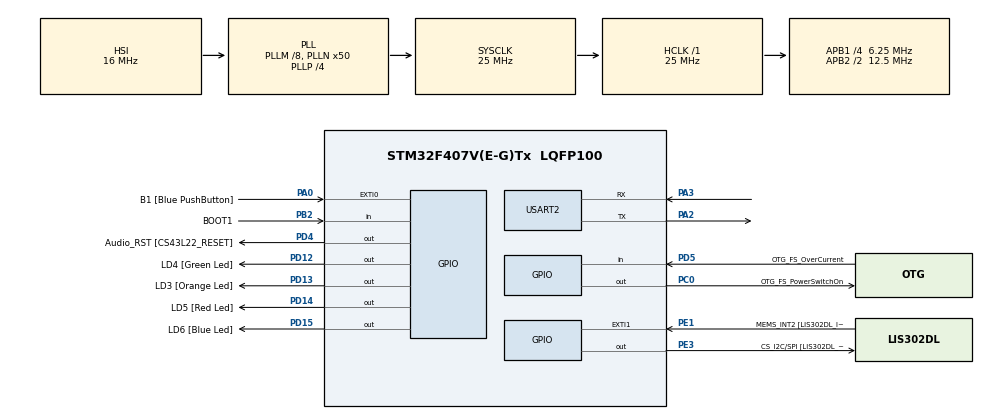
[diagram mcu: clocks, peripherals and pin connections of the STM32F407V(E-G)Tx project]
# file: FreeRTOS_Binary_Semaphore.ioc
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Mcu.Family=STM32F4
Mcu.Name=STM32F407V(E-G)Tx
Mcu.Package=LQFP100
NVIC.PriorityGroup=NVIC_PRIORITYGROUP_4
NVIC.TIM6_DAC_IRQn=true\:15\:0\:true\:false\:true\:false\:true\:true
NVIC.TimeBase=TIM6_DAC_IRQn
NVIC.TimeBaseIP=TIM6
NVIC.USART2_IRQn=true\:6\:0\:true\:false\:true\:true\:true\:true
PA0-WKUP.GPIO_Label=B1 [Blue PushButton]
PA0-WKUP.Signal=GPXTI0
PA10.GPIO_Label=OTG_FS_ID
PA10.GPIO_Mode=GPIO_MODE_AF_PP
PA10.GPIO_PuPd=GPIO_NOPULL
PA10.GPIO_Speed=GPIO_SPEED_FREQ_LOW
PA10.Signal=USB_OTG_FS_ID
PA11.GPIO_Label=OTG_FS_DM
PA11.GPIO_Mode=GPIO_MODE_AF_PP
PA11.GPIO_PuPd=GPIO_NOPULL
PA11.GPIO_Speed=GPIO_SPEED_FREQ_LOW
PA11.Signal=USB_OTG_FS_DM
PA12.GPIO_Label=OTG_FS_DP
PA12.GPIO_Mode=GPIO_MODE_AF_PP
PA12.GPIO_PuPd=GPIO_NOPULL
PA12.GPIO_Speed=GPIO_SPEED_FREQ_LOW
PA12.Signal=USB_OTG_FS_DP
PA13.GPIO_Label=SWDIO
PA13.Signal=SYS_JTMS-SWDIO
PA14.GPIO_Label=SWCLK
PA14.Signal=SYS_JTCK-SWCLK
PA2.Mode=Asynchronous
PA2.Signal=USART2_TX
PA3.Mode=Asynchronous
PA3.Signal=USART2_RX
PA4.GPIO_Label=I2S3_WS [CS43L22_LRCK]
PA4.GPIO_Mode=GPIO_MODE_AF_PP
PA4.GPIO_PuPd=GPIO_NOPULL
PA4.GPIO_Speed=GPIO_SPEED_FREQ_LOW
PA4.Signal=I2S3_WS
PA5.GPIO_Label=SPI1_SCK [LIS302DL_SCL/SPC]
PA5.GPIO_Mode=GPIO_MODE_AF_PP
PA5.GPIO_PuPd=GPIO_NOPULL
PA5.GPIO_Speed=GPIO_SPEED_FREQ_LOW
PA5.Signal=SPI1_SCK
PA6.GPIO_Label=SPI1_MISO [LIS302DL_SDO]
PA6.GPIO_Mode=GPIO_MODE_AF_PP
PA6.GPIO_PuPd=GPIO_NOPULL
PA6.GPIO_Speed=GPIO_SPEED_FREQ_LOW
PA6.Signal=SPI1_MISO
PA7.GPIO_Label=SPI1_MOSI [LIS302DL_SDA/SDI/SDO]
PA7.GPIO_Mode=GPIO_MODE_AF_PP
PA7.GPIO_PuPd=GPIO_NOPULL
PA7.GPIO_Speed=GPIO_SPEED_FREQ_LOW
PA7.Signal=SPI1_MOSI
PA9.GPIO_Label=VBUS_FS
PA9.GPIO_Mode=GPIO_MODE_INPUT
PA9.GPIO_PuPd=GPIO_NOPULL
PA9.Signal=USB_OTG_FS_VBUS
PB10.GPIO_Label=CLK_IN [MP45DT02_CLK]
PB10.GPIO_Mode=GPIO_MODE_AF_PP
PB10.GPIO_PuPd=GPIO_NOPULL
PB10.GPIO_Speed=GPIO_SPEED_FREQ_LOW
PB10.Signal=I2S2_CK
PB2.GPIO_Label=BOOT1
PB2.GPIO_Mode=GPIO_MODE_INPUT
PB2.GPIO_PuPd=GPIO_NOPULL
PB2.Signal=GPIO_Input
PB3.GPIO_Label=SWO
PB3.Signal=SYS_JTDO-SWO
PB6.GPIO_Label=Audio_SCL [CS43L22_SCL]
PB6.GPIO_Mode=GPIO_MODE_AF_OD
PB6.GPIO_PuPd=GPIO_NOPULL
PB6.GPIO_Speed=GPIO_SPEED_FREQ_LOW
PB6.Signal=I2C1_SCL
PB9.GPIO_Label=Audio_SDA [CS43L22_SDA]
PB9.GPIO_Mode=GPIO_MODE_AF_OD
PB9.GPIO_PuPd=GPIO_NOPULL
PB9.GPIO_Speed=GPIO_SPEED_FREQ_LOW
PB9.Signal=I2C1_SDA
PC0.GPIO_Label=OTG_FS_PowerSwitchOn
PC0.GPIO_PuPd=GPIO_NOPULL
PC0.GPIO_Speed=GPIO_SPEED_FREQ_LOW
PC0.PinState=GPIO_PIN_SET
PC0.Signal=GPIO_Output
PC10.GPIO_Label=I2S3_SCK [CS43L22_SCLK]
PC10.GPIO_Mode=GPIO_MODE_AF_PP
PC10.GPIO_PuPd=GPIO_NOPULL
PC10.GPIO_Speed=GPIO_SPEED_FREQ_LOW
PC10.Signal=I2S3_CK
PC12.GPIO_Label=I2S3_SD [CS43L22_SDIN]
PC12.GPIO_Mode=GPIO_MODE_AF_PP
PC12.GPIO_PuPd=GPIO_NOPULL
PC12.GPIO_Speed=GPIO_SPEED_FREQ_LOW
PC12.Signal=I2S3_SD
PC14-OSC32_IN.GPIO_Label=PC14-OSC32_IN
PC14-OSC32_IN.Signal=RCC_OSC32_IN
PC15-OSC32_OUT.GPIO_Label=PC15-OSC32_OUT
PC15-OSC32_OUT.Signal=RCC_OSC32_OUT
PC3.GPIO_Label=PDM_OUT [MP45DT02_DOUT]
PC3.GPIO_Mode=GPIO_MODE_AF_PP
PC3.GPIO_PuPd=GPIO_NOPULL
PC3.GPIO_Speed=GPIO_SPEED_FREQ_LOW
PC3.Signal=I2S2_SD
PC7.GPIO_Label=I2S3_MCK [CS43L22_MCLK]
PC7.GPIO_Mode=GPIO_MODE_AF_PP
PC7.GPIO_PuPd=GPIO_NOPULL
PC7.GPIO_Speed=GPIO_SPEED_FREQ_LOW
PC7.Signal=I2S3_MCK
PD12.GPIO_Label=LD4 [Green Led]
PD12.GPIO_PuPd=GPIO_NOPULL
PD12.GPIO_Speed=GPIO_SPEED_FREQ_LOW
PD12.Signal=GPIO_Output
PD13.GPIO_Label=LD3 [Orange Led]
PD13.GPIO_PuPd=GPIO_NOPULL
PD13.GPIO_Speed=GPIO_SPEED_FREQ_LOW
PD13.Signal=GPIO_Output
PD14.GPIO_Label=LD5 [Red Led]
PD14.GPIO_PuPd=GPIO_NOPULL
PD14.GPIO_Speed=GPIO_SPEED_FREQ_LOW
PD14.Signal=GPIO_Output
PD15.GPIO_Label=LD6 [Blue Led]
PD15.GPIO_PuPd=GPIO_NOPULL
PD15.GPIO_Speed=GPIO_SPEED_FREQ_LOW
PD15.Signal=GPIO_Output
PD4.GPIO_Label=Audio_RST [CS43L22_RESET]
PD4.GPIO_PuPd=GPIO_NOPULL
PD4.GPIO_Speed=GPIO_SPEED_FREQ_LOW
PD4.Signal=GPIO_Output
PD5.GPIO_Label=OTG_FS_OverCurrent
PD5.GPIO_Mode=GPIO_MODE_INPUT
PD5.GPIO_PuPd=GPIO_NOPULL
PD5.Signal=GPIO_Input
PE1.GPIO_Label=MEMS_INT2 [LIS302DL_INT2]
PE1.GPIO_ModeDefaultEXTI=GPIO_MODE_EVT_RISING
PE1.GPIO_PuPd=GPIO_NOPULL
PE1.Signal=GPXTI1
PE3.GPIO_Label=CS_I2C/SPI [LIS302DL_CS_I2C/SPI]
PE3.GPIO_PuPd=GPIO_NOPULL
PE3.GPIO_Speed=GPIO_SPEED_FREQ_LOW
PE3.Signal=GPIO_Output
PH0-OSC_IN.GPIO_Label=PH0-OSC_IN
PH0-OSC_IN.Signal=RCC_OSC_IN
PH1-OSC_OUT.GPIO_Label=PH1-OSC_OUT
PH1-OSC_OUT.Signal=RCC_OSC_OUT
ProjectManager.HeapSize=0x200
ProjectManager.StackSize=0x400
ProjectManager.TargetToolchain=STM32CubeIDE
RCC.48MHZClocksFreq_Value=14285714.285714285
RCC.AHBFreq_Value=25000000
RCC.APB1CLKDivider=RCC_HCLK_DIV4
RCC.APB1Freq_Value=6250000
RCC.APB1TimFreq_Value=12500000
RCC.APB2CLKDivider=RCC_HCLK_DIV2
RCC.APB2Freq_Value=12500000
RCC.APB2TimFreq_Value=25000000
RCC.CortexFreq_Value=25000000
RCC.HCLKFreq_Value=25000000
RCC.HSE_VALUE=8000000
RCC.HSI_VALUE=16000000
RCC.LSE_VALUE=32768
RCC.PLLM=8
RCC.PLLN=50
RCC.PLLP=RCC_PLLP_DIV4
RCC.PLLQ=7
RCC.SYSCLKFreq_VALUE=25000000
RCC.SYSCLKSource=RCC_SYSCLKSOURCE_PLLCLK
RCC.VCOOutputFreq_Value=100000000
USART2.VirtualMode=VM_ASYNC
VP_SYS_VS_tim6.Mode=TIM6
board=STM32F407G-DISC1

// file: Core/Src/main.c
/* USER CODE BEGIN Header */
/**
  ******************************************************************************
  * @file           : main.c
  * @brief          : Main program body
  ******************************************************************************
  * @attention
  *
  * Copyright (c) 2025 STMicroelectronics.
  * All rights reserved.
  *
  * This software is licensed under terms that can be found in the LICENSE file
  * in the root directory of this software component.
  * If no LICENSE file comes with this software, it is provided AS-IS.
  *
  ******************************************************************************
  */
/* USER CODE END Header */
#include "main.h"

/* USER CODE BEGIN Includes */
#include <stdio.h>
#include <stdlib.h>
#include <string.h>

#include "FreeRTOS.h"
#include "task.h"
#include "semphr.h"
#include "queue.h"

#include "stm32f4xx.h"
/* USER CODE END Includes */

UART_HandleTypeDef huart2;

char usr_msg[250]={0};

TaskHandle_t xTaskHandleM=NULL;
TaskHandle_t xTaskHandleE=NULL;

void SystemClock_Config(void);
static void MX_GPIO_Init(void);
static void MX_USART2_UART_Init(void);
/* USER CODE BEGIN PFP */

static void prvSetupHardware(void);
void printmsg(char *msg);
static void prvSetupUart(void);
void prvSetupGpio(void);

static void vManagerTask( void *pvParameters );
static void vEmployeeTask( void *pvParameters );

// 宣告 Semaphore handle variable, Queue handle variable
xSemaphoreHandle xWork;
xQueueHandle xWorkQueue;

/* USER CODE END PFP */

int main(void)
{

  /* MCU Configuration--------------------------------------------------------*/

  /* Reset of all peripherals, Initializes the Flash interface and the Systick. */
  HAL_Init();

  /* Configure the system clock */
  SystemClock_Config();

  /* Initialize all configured peripherals */
  MX_GPIO_Init();
  MX_USART2_UART_Init();
  /* USER CODE BEGIN 2 */

  //this is here to collect segger event time stamp
  	DWT->CTRL |= (1 << 0);//Enable CYCCNT in DWT_CTRL.

  	//1.  Reset the RCC clock configuration to the default reset state.
  	//HSI ON, PLL OFF, HSE OFF, system clock = 16MHz, cpu_clock = 16MHz
  	RCC_DeInit();

  	//2. update the SystemCoreClock variable
  	SystemCoreClockUpdate();

  	prvSetupHardware();

  	//Start Recording
  	SEGGER_SYSVIEW_Conf();
  	SEGGER_SYSVIEW_Start();

  	sprintf(usr_msg,"Demo of Binary semaphore usage between 2 Tasks \r\n");
  	printmsg(usr_msg);

      // 初始化 semaphore control block 的所有資訊 (Binary)
      vSemaphoreCreateBinary( xWork );

  	  // create queue
      xWorkQueue = xQueueCreate( 1, sizeof( unsigned int ) );

      if( (xWork != NULL) && (xWorkQueue != NULL) )
      {

  		/* Create the 'Manager' task. The Manager task is created with a high priority  */
          xTaskCreate( vManagerTask, "Manager", 500, NULL, 3, NULL );

          /* The Manager task is created with a low priority */
          xTaskCreate( vEmployeeTask, "Employee", 500, NULL, 1, NULL );

          vTaskStartScheduler();
      }

      sprintf(usr_msg,"Queue/Sema create failed.. \r\n");
      printmsg(usr_msg);

      /* If all is well we will never reach here as the scheduler will now be
      running the tasks.  If we do reach here then it is likely that there was
      insufficient heap memory available for a resource to be created. */
  	for( ;; );
  /* USER CODE END 2 */

  /* Infinite loop */
  while (1)
  {

  }
}

void SystemClock_Config(void)
{
  RCC_OscInitTypeDef RCC_OscInitStruct = {0};
  RCC_ClkInitTypeDef RCC_ClkInitStruct = {0};

  /** Configure the main internal regulator output voltage
  */
  __HAL_RCC_PWR_CLK_ENABLE();
  __HAL_PWR_VOLTAGESCALING_CONFIG(PWR_REGULATOR_VOLTAGE_SCALE1);

  /** Initializes the RCC Oscillators according to the specified parameters
  * in the RCC_OscInitTypeDef structure.
  */
  RCC_OscInitStruct.OscillatorType = RCC_OSCILLATORTYPE_HSI;
  RCC_OscInitStruct.HSIState = RCC_HSI_ON;
  RCC_OscInitStruct.HSICalibrationValue = RCC_HSICALIBRATION_DEFAULT;
  RCC_OscInitStruct.PLL.PLLState = RCC_PLL_ON;
  RCC_OscInitStruct.PLL.PLLSource = RCC_PLLSOURCE_HSI;
  RCC_OscInitStruct.PLL.PLLM = 8;
  RCC_OscInitStruct.PLL.PLLN = 50;
  RCC_OscInitStruct.PLL.PLLP = RCC_PLLP_DIV4;
  RCC_OscInitStruct.PLL.PLLQ = 7;
  if (HAL_RCC_OscConfig(&RCC_OscInitStruct) != HAL_OK)
  {
    Error_Handler();
  }

  /** Initializes the CPU, AHB and APB buses clocks
  */
  RCC_ClkInitStruct.ClockType = RCC_CLOCKTYPE_HCLK|RCC_CLOCKTYPE_SYSCLK
                              |RCC_CLOCKTYPE_PCLK1|RCC_CLOCKTYPE_PCLK2;
  RCC_ClkInitStruct.SYSCLKSource = RCC_SYSCLKSOURCE_PLLCLK;
  RCC_ClkInitStruct.AHBCLKDivider = RCC_SYSCLK_DIV1;
  RCC_ClkInitStruct.APB1CLKDivider = RCC_HCLK_DIV4;
  RCC_ClkInitStruct.APB2CLKDivider = RCC_HCLK_DIV2;

  if (HAL_RCC_ClockConfig(&RCC_ClkInitStruct, FLASH_LATENCY_0) != HAL_OK)
  {
    Error_Handler();
  }
}

static void MX_USART2_UART_Init(void)
{

  huart2.Instance = USART2;
  huart2.Init.BaudRate = 115200;
  huart2.Init.WordLength = UART_WORDLENGTH_8B;
  huart2.Init.StopBits = UART_STOPBITS_1;
  huart2.Init.Parity = UART_PARITY_NONE;
  huart2.Init.Mode = UART_MODE_TX_RX;
  huart2.Init.HwFlowCtl = UART_HWCONTROL_NONE;
  huart2.Init.OverSampling = UART_OVERSAMPLING_16;
  if (HAL_UART_Init(&huart2) != HAL_OK)
  {
    Error_Handler();
  }

}

static void MX_GPIO_Init(void)
{
  GPIO_InitTypeDef GPIO_InitStruct = {0};

  /* GPIO Ports Clock Enable */
  __HAL_RCC_GPIOE_CLK_ENABLE();
  __HAL_RCC_GPIOC_CLK_ENABLE();
  __HAL_RCC_GPIOH_CLK_ENABLE();
  __HAL_RCC_GPIOA_CLK_ENABLE();
  __HAL_RCC_GPIOB_CLK_ENABLE();
  __HAL_RCC_GPIOD_CLK_ENABLE();

  /*Configure GPIO pin Output Level */
  HAL_GPIO_WritePin(CS_I2C_SPI_GPIO_Port, CS_I2C_SPI_Pin, GPIO_PIN_RESET);

  /*Configure GPIO pin Output Level */
  HAL_GPIO_WritePin(OTG_FS_PowerSwitchOn_GPIO_Port, OTG_FS_PowerSwitchOn_Pin, GPIO_PIN_SET);

  /*Configure GPIO pin Output Level */
  HAL_GPIO_WritePin(GPIOD, LD4_Pin|LD3_Pin|LD5_Pin|LD6_Pin
                          |Audio_RST_Pin, GPIO_PIN_RESET);

  /*Configure GPIO pin : CS_I2C_SPI_Pin */
  GPIO_InitStruct.Pin = CS_I2C_SPI_Pin;
  GPIO_InitStruct.Mode = GPIO_MODE_OUTPUT_PP;
  GPIO_InitStruct.Pull = GPIO_NOPULL;
  GPIO_InitStruct.Speed = GPIO_SPEED_FREQ_LOW;
  HAL_GPIO_Init(CS_I2C_SPI_GPIO_Port, &GPIO_InitStruct);

  /*Configure GPIO pin : OTG_FS_PowerSwitchOn_Pin */
  GPIO_InitStruct.Pin = OTG_FS_PowerSwitchOn_Pin;
  GPIO_InitStruct.Mode = GPIO_MODE_OUTPUT_PP;
  GPIO_InitStruct.Pull = GPIO_NOPULL;
  GPIO_InitStruct.Speed = GPIO_SPEED_FREQ_LOW;
  HAL_GPIO_Init(OTG_FS_PowerSwitchOn_GPIO_Port, &GPIO_InitStruct);

  /*Configure GPIO pin : PDM_OUT_Pin */
  GPIO_InitStruct.Pin = PDM_OUT_Pin;
  GPIO_InitStruct.Mode = GPIO_MODE_AF_PP;
  GPIO_InitStruct.Pull = GPIO_NOPULL;
  GPIO_InitStruct.Speed = GPIO_SPEED_FREQ_LOW;
  GPIO_InitStruct.Alternate = GPIO_AF5_SPI2;
  HAL_GPIO_Init(PDM_OUT_GPIO_Port, &GPIO_InitStruct);

  /*Configure GPIO pin : B1_Pin */
  GPIO_InitStruct.Pin = B1_Pin;
  GPIO_InitStruct.Mode = GPIO_MODE_IT_RISING;
  GPIO_InitStruct.Pull = GPIO_NOPULL;
  HAL_GPIO_Init(B1_GPIO_Port, &GPIO_InitStruct);

  /*Configure GPIO pin : I2S3_WS_Pin */
  GPIO_InitStruct.Pin = I2S3_WS_Pin;
  GPIO_InitStruct.Mode = GPIO_MODE_AF_PP;
  GPIO_InitStruct.Pull = GPIO_NOPULL;
  GPIO_InitStruct.Speed = GPIO_SPEED_FREQ_LOW;
  GPIO_InitStruct.Alternate = GPIO_AF6_SPI3;
  HAL_GPIO_Init(I2S3_WS_GPIO_Port, &GPIO_InitStruct);

  /*Configure GPIO pins : SPI1_SCK_Pin SPI1_MISO_Pin SPI1_MOSI_Pin */
  GPIO_InitStruct.Pin = SPI1_SCK_Pin|SPI1_MISO_Pin|SPI1_MOSI_Pin;
  GPIO_InitStruct.Mode = GPIO_MODE_AF_PP;
  GPIO_InitStruct.Pull = GPIO_NOPULL;
  GPIO_InitStruct.Speed = GPIO_SPEED_FREQ_LOW;
  GPIO_InitStruct.Alternate = GPIO_AF5_SPI1;
  HAL_GPIO_Init(GPIOA, &GPIO_InitStruct);

  /*Configure GPIO pin : BOOT1_Pin */
  GPIO_InitStruct.Pin = BOOT1_Pin;
  GPIO_InitStruct.Mode = GPIO_MODE_INPUT;
  GPIO_InitStruct.Pull = GPIO_NOPULL;
  HAL_GPIO_Init(BOOT1_GPIO_Port, &GPIO_InitStruct);

  /*Configure GPIO pin : CLK_IN_Pin */
  GPIO_InitStruct.Pin = CLK_IN_Pin;
  GPIO_InitStruct.Mode = GPIO_MODE_AF_PP;
  GPIO_InitStruct.Pull = GPIO_NOPULL;
  GPIO_InitStruct.Speed = GPIO_SPEED_FREQ_LOW;
  GPIO_InitStruct.Alternate = GPIO_AF5_SPI2;
  HAL_GPIO_Init(CLK_IN_GPIO_Port, &GPIO_InitStruct);

  /*Configure GPIO pins : LD4_Pin LD3_Pin LD5_Pin LD6_Pin
                           Audio_RST_Pin */
  GPIO_InitStruct.Pin = LD4_Pin|LD3_Pin|LD5_Pin|LD6_Pin
                          |Audio_RST_Pin;
  GPIO_InitStruct.Mode = GPIO_MODE_OUTPUT_PP;
  GPIO_InitStruct.Pull = GPIO_NOPULL;
  GPIO_InitStruct.Speed = GPIO_SPEED_FREQ_LOW;
  HAL_GPIO_Init(GPIOD, &GPIO_InitStruct);

  /*Configure GPIO pins : I2S3_MCK_Pin I2S3_SCK_Pin I2S3_SD_Pin */
  GPIO_InitStruct.Pin = I2S3_MCK_Pin|I2S3_SCK_Pin|I2S3_SD_Pin;
  GPIO_InitStruct.Mode = GPIO_MODE_AF_PP;
  GPIO_InitStruct.Pull = GPIO_NOPULL;
  GPIO_InitStruct.Speed = GPIO_SPEED_FREQ_LOW;
  GPIO_InitStruct.Alternate = GPIO_AF6_SPI3;
  HAL_GPIO_Init(GPIOC, &GPIO_InitStruct);

  /*Configure GPIO pin : VBUS_FS_Pin */
  GPIO_InitStruct.Pin = VBUS_FS_Pin;
  GPIO_InitStruct.Mode = GPIO_MODE_INPUT;
  GPIO_InitStruct.Pull = GPIO_NOPULL;
  HAL_GPIO_Init(VBUS_FS_GPIO_Port, &GPIO_InitStruct);

  /*Configure GPIO pins : OTG_FS_ID_Pin OTG_FS_DM_Pin OTG_FS_DP_Pin */
  GPIO_InitStruct.Pin = OTG_FS_ID_Pin|OTG_FS_DM_Pin|OTG_FS_DP_Pin;
  GPIO_InitStruct.Mode = GPIO_MODE_AF_PP;
  GPIO_InitStruct.Pull = GPIO_NOPULL;
  GPIO_InitStruct.Speed = GPIO_SPEED_FREQ_LOW;
  GPIO_InitStruct.Alternate = GPIO_AF10_OTG_FS;
  HAL_GPIO_Init(GPIOA, &GPIO_InitStruct);

  /*Configure GPIO pin : OTG_FS_OverCurrent_Pin */
  GPIO_InitStruct.Pin = OTG_FS_OverCurrent_Pin;
  GPIO_InitStruct.Mode = GPIO_MODE_INPUT;
  GPIO_InitStruct.Pull = GPIO_NOPULL;
  HAL_GPIO_Init(OTG_FS_OverCurrent_GPIO_Port, &GPIO_InitStruct);

  /*Configure GPIO pins : Audio_SCL_Pin Audio_SDA_Pin */
  GPIO_InitStruct.Pin = Audio_SCL_Pin|Audio_SDA_Pin;
  GPIO_InitStruct.Mode = GPIO_MODE_AF_OD;
  GPIO_InitStruct.Pull = GPIO_NOPULL;
  GPIO_InitStruct.Speed = GPIO_SPEED_FREQ_LOW;
  GPIO_InitStruct.Alternate = GPIO_AF4_I2C1;
  HAL_GPIO_Init(GPIOB, &GPIO_InitStruct);

  /*Configure GPIO pin : MEMS_INT2_Pin */
  GPIO_InitStruct.Pin = MEMS_INT2_Pin;
  GPIO_InitStruct.Mode = GPIO_MODE_EVT_RISING;
  GPIO_InitStruct.Pull = GPIO_NOPULL;
  HAL_GPIO_Init(MEMS_INT2_GPIO_Port, &GPIO_InitStruct);

}

/* USER CODE BEGIN 4 */
void vManagerTask( void *pvParameters )
{

	 unsigned int xWorkTicketId;
	 portBASE_TYPE xStatus;

    /* The semaphore is created in the 'empty' state, meaning the semaphore must
	 first be given using the xSemaphoreGive() API function before it
	 can subsequently be taken (obtained) */
    xSemaphoreGive( xWork);

    for( ;; )
    {
        // 隨機id
        xWorkTicketId = ( rand() & 0x1FF );

		/* Sends work ticket id to the work queue */
		xStatus = xQueueSend( xWorkQueue, &xWorkTicketId , portMAX_DELAY ); //Post an item on back of the queue

		if( xStatus == pdPASS )
		{
			// Manager 要釋放 semaphore
			xSemaphoreGive( xWork);
			/* after assigning the work , just yield the processor because nothing to do */
			taskYIELD();
		}
		else
		{
			sprintf(usr_msg,"Could not send to the queue.\r\n");
			printmsg(usr_msg);
		}
    }
}

static void vEmployeeTask( void *pvParameters )
{

	unsigned char xWorkTicketId;
	portBASE_TYPE xStatus;

    for( ;; )
    {
		// 嘗試取得 Semaphore, xWork是否大於0
    	// xWork == 1, return pdPASS
    	// 後面代表 block time, 0表示需要立即知道
    	if( xSemaphoreTake( xWork, 0 ) == pdPASS )
    	{
    		/* get the ticket id from the work queue */
    	    xStatus = xQueueReceive( xWorkQueue, &xWorkTicketId, 0 );
    	    /* implement the work according to TickedID */
			sprintf(usr_msg,"Employee task : Working on Ticked id : %d\r\n",xWorkTicketId);
			printmsg(usr_msg);
			vTaskDelay(TicketId);
    	}
    	else
    	{
    	    // 不會執行 xQueueReceive
    	    printmsg("Employee: No ticket, skipping Queue check.\r\n");
    	}

    }
}

static void prvSetupHardware(void)
{
	//Setup Button and LED
	prvSetupGpio();

	//setup UART2
	prvSetupUart();
}

void printmsg(char *msg)
{
	for(uint32_t i=0; i < strlen(msg); i++)
	{
		while ( USART_GetFlagStatus(USART2,USART_FLAG_TXE) != SET);
		USART_SendData(USART2,msg[i]);
	}

	while ( USART_GetFlagStatus(USART2,USART_FLAG_TC) != SET);

}

static void prvSetupUart(void)
{
	GPIO_InitTypeDef gpio_uart_pins;
	USART_InitTypeDef uart2_init;

	//1. Enable the UART2  and GPIOA Peripheral clock
	RCC_APB1PeriphClockCmd(RCC_APB1Periph_USART2,ENABLE);
	RCC_AHB1PeriphClockCmd(RCC_AHB1Periph_GPIOA,ENABLE);

	//PA2 is UART2_TX, PA3 is UART2_RX

	//2. Alternate function configuration of MCU pins to behave as UART2 TX and RX

	//zeroing each and every member element of the structure
	memset(&gpio_uart_pins,0,sizeof(gpio_uart_pins));

	gpio_uart_pins.GPIO_Pin = GPIO_Pin_2 | GPIO_Pin_3;
	gpio_uart_pins.GPIO_Mode = GPIO_Mode_AF;
	gpio_uart_pins.GPIO_PuPd = GPIO_PuPd_UP;
	gpio_uart_pins.GPIO_OType= GPIO_OType_PP;
	gpio_uart_pins.GPIO_Speed = GPIO_High_Speed;
	GPIO_Init(GPIOA, &gpio_uart_pins);

	//3. AF mode settings for the pins
	GPIO_PinAFConfig(GPIOA,GPIO_PinSource2,GPIO_AF_USART2); //PA2
	GPIO_PinAFConfig(GPIOA,GPIO_PinSource3,GPIO_AF_USART2); //PA3

	//4. UART parameter initializations
	//zeroing each and every member element of the structure
	memset(&uart2_init,0,sizeof(uart2_init));

	uart2_init.USART_BaudRate = 115200;
	uart2_init.USART_HardwareFlowControl = USART_HardwareFlowControl_None;
	uart2_init.USART_Mode =  USART_Mode_Tx | USART_Mode_Rx;
	uart2_init.USART_Parity = USART_Parity_No;
	uart2_init.USART_StopBits = USART_StopBits_1;
	uart2_init.USART_WordLength = USART_WordLength_8b;
	USART_Init(USART2,&uart2_init);

	//5. Enable the UART2 peripheral
	USART_Cmd(USART2,ENABLE);

}

void prvSetupGpio(void)
{
	// this function is board specific

	//Peripheral clock enable for GPIOA and GPIOC
	RCC_AHB1PeriphClockCmd(RCC_AHB1Periph_GPIOA,ENABLE);
	RCC_AHB1PeriphClockCmd(RCC_AHB1Periph_GPIOC,ENABLE);
	RCC_APB2PeriphClockCmd(RCC_APB2Periph_SYSCFG,ENABLE);

	GPIO_InitTypeDef led_init, button_init;
	led_init.GPIO_Mode = GPIO_Mode_OUT;
	led_init.GPIO_OType = GPIO_OType_PP;
	led_init.GPIO_Pin = GPIO_Pin_5;
	led_init.GPIO_Speed = GPIO_Low_Speed;
	led_init.GPIO_PuPd = GPIO_PuPd_NOPULL;
	GPIO_Init(GPIOA,&led_init);

	button_init.GPIO_Mode = GPIO_Mode_IN;
	button_init.GPIO_OType = GPIO_OType_PP;
	button_init.GPIO_Pin = GPIO_Pin_13;
	button_init.GPIO_Speed = GPIO_Low_Speed;
	button_init.GPIO_PuPd = GPIO_PuPd_NOPULL;
	GPIO_Init(GPIOC,&button_init);

}
/* USER CODE END 4 */

void HAL_TIM_PeriodElapsedCallback(TIM_HandleTypeDef *htim)
{
  if (htim->Instance == TIM6)
  {
    HAL_IncTick();
  }
}

void Error_Handler(void)
{
  __disable_irq();
  while (1)
  {
  }
}
